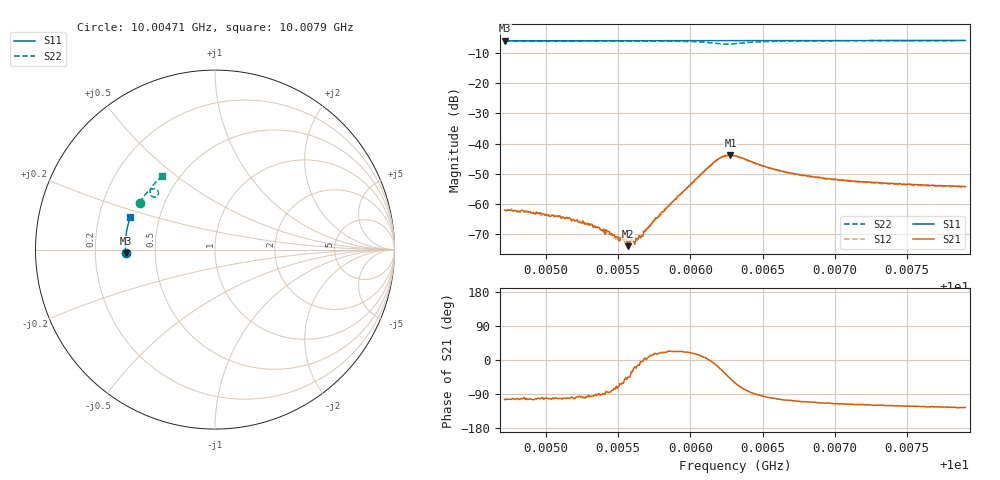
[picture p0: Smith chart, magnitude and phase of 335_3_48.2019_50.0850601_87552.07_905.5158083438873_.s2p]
#  HZ  S  RI  R  50.00
! Rohde & Schwarz Vector Network Analyzer
! Rohde-Schwarz,ZNB20-2Port,1311601062101988,3.16
! Created: UTC 3/20/2024, 11:51:04 AM
! freq[Hz]  re:S11  im:S11  re:S21  im:S21  re:S12  im:S12  re:S22  im:S22
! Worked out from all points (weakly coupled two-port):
!   401 points, 10.00471 GHz to 10.0079 GHz, reference 50 ohm
!   highest |S21| = -43.79 dB at 10.00628 GHz (marker M1); lowest = -73.9 dB at 10.00557 GHz (marker M2)
!   lowest |S11| = -6.0 dB at 10.00471 GHz (marker M3), VSWR 2.99, Z = 16.7 - j0.92 ohm
!   |S11| at or under -10 dB: nowhere
!   |S22| runs from -7.2 to -6.0 dB; largest |S21 - S12| = 0.00038
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1.0004715e10  -0.4986 -0.0207  -0.000197 -0.000769  -0.000165 -0.000774  -0.4188 0.261
1.0004954e10  -0.4995 -0.00504  -0.000145 -0.000698  -0.000122 -0.000682  -0.4107 0.2751
1.0005153e10  -0.4998 0.00786  -0.000103 -0.000579  -8.32e-05 -0.000577  -0.403 0.2869
1.0005249e10  -0.4999 0.014  -5.31e-05 -0.000489  -4.94e-05 -0.000477  -0.3992 0.2927
1.0005336e10  -0.4998 0.0198  -2.89e-05 -0.000425  5.93e-06 -0.000443  -0.3956 0.298
1.0005392e10  -0.4998 0.0234  4.74e-06 -0.000361  2.06e-05 -0.000365  -0.3931 0.3014
1.0005432e10  -0.4998 0.026  2.55e-05 -0.000346  2.86e-05 -0.000319  -0.3913 0.3037
1.0005496e10  -0.4998 0.0301  7.41e-05 -0.000275  0.000101 -0.000258  -0.3883 0.3078
1.0005536e10  -0.4997 0.0327  0.00012 -0.00022  0.000145 -0.000211  -0.3862 0.3101
1.0005567e10  -0.4996 0.0347  0.000142 -0.000144  0.000167 -0.000157  -0.3846 0.312
1.0005623e10  -0.4995 0.0384  0.000248 -9.81e-05  0.000245 -6.83e-05  -0.3814 0.3157
1.0005639e10  -0.4993 0.0394  0.000258 -5.84e-05  0.000268 -3.51e-05  -0.3806 0.3166
1.0005655e10  -0.4993 0.0404  0.000277 -2.2e-05  0.000288 -2.47e-05  -0.3797 0.3175
1.0005783e10  -0.4988 0.0486  0.000595 0.000191  0.000598 0.000235  -0.3711 0.3258
1.0006165e10  -0.4961 0.0733  0.00491 -0.000809  0.00482 -0.000541  -0.3174 0.3253
1.0006221e10  -0.4956 0.0766  0.00536 -0.00288  0.00538 -0.00258  -0.3157 0.3074
1.0006277e10  -0.4952 0.08  0.0042 -0.00491  0.00432 -0.00461  -0.3288 0.2935
1.0006309e10  -0.4951 0.082  0.0031 -0.00548  0.00335 -0.0052  -0.3389 0.2921
1.000658e10  -0.4929 0.0993  -0.000722 -0.00371  -0.000583 -0.00367  -0.36 0.3306
1.0006843e10  -0.4896 0.116  -0.00103 -0.00266  -0.000899 -0.00264  -0.3487 0.3535
1.0007377e10  -0.4819 0.1497  -0.0011 -0.00189  -0.000991 -0.0019  -0.3224 0.3838
1.0007903e10  -0.4716 0.1819  -0.00112 -0.00159  -0.00104 -0.00161  -0.2957 0.4077
